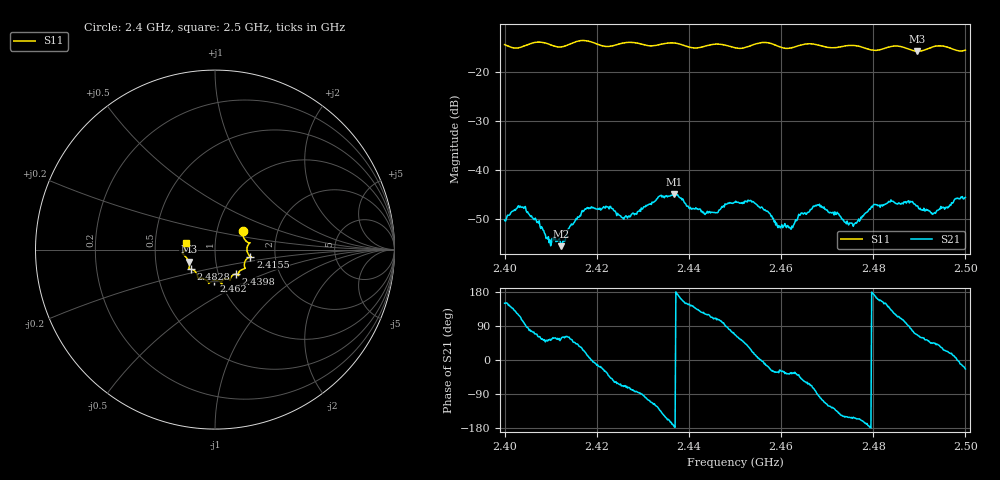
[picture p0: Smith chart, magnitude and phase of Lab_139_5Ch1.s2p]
# Hz S RI R 50
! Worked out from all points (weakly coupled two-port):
!   601 points, 2.4 GHz to 2.5 GHz, reference 50 ohm
!   highest |S21| = -45.03 dB at 2.4368 GHz (marker M1); lowest = -55.6 dB at 2.4123 GHz (marker M2)
!   lowest |S11| = -15.9 dB at 2.4895 GHz (marker M3), VSWR 1.38, Z = 37 - j5.05 ohm
!   |S11| at or under -10 dB: start of sweep to end of sweep
!   S12 and S22 are empty: the file has one direction only
!   S11 on the Smith chart (normalised r, x): 2.4 GHz: 1.33, +0.29; 2.4155 GHz: 1.49, -0.12; 2.4398 GHz: 1.21, -0.34; 2.462 GHz: 0.93, -0.33; 2.4828 GHz: 0.74, -0.17; 2.5 GHz: 0.72, +0.06
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2.4e9  0.1551 0.1059  -0.00266 0.00155  0 0  0 0
2.404e9  0.1736 0.0467  -0.000826 0.00408  0 0  0 0
2.4095e9  0.1879 0.0311  0.00124 0.00167  0 0  0 0
2.412333e9  0.178 -0.0047  0.00089 0.00141  0 0  0 0
2.4155e9  0.1974 -0.0392  0.00235 0.00215  0 0  0 0
2.416667e9  0.2023 -0.0425  0.00307 0.00199  0 0  0 0
2.4225e9  0.1656 -0.0701  0.00316 -0.00271  0 0  0 0
2.426167e9  0.1677 -0.1024  0.00127 -0.00307  0 0  0 0
2.433333e9  0.1298 -0.1341  -0.00314 -0.00425  0 0  0 0
2.436833e9  0.1317 -0.1441  -0.00559 -0.000371  0 0  0 0
2.439833e9  0.1151 -0.1361  -0.00354 0.00237  0 0  0 0
2.445833e9  0.0841 -0.1704  -0.00128 0.00342  0 0  0 0
2.45e9  0.0651 -0.162  0.00185 0.00429  0 0  0 0
2.453833e9  0.0357 -0.183  0.00447 0.00164  0 0  0 0
2.462e9  -0.00564 -0.173  0.0021 -0.00143  0 0  0 0
2.466667e9  -0.035 -0.1881  0.00147 -0.00371  0 0  0 0
2.475833e9  -0.0944 -0.158  -0.00247 -0.0013  0 0  0 0
2.482833e9  -0.136 -0.109  -0.00381 0.00245  0 0  0 0
2.483333e9  -0.1398 -0.1089  -0.00371 0.00298  0 0  0 0
2.4895e9  -0.1461 -0.0665  0.00169 0.00395  0 0  0 0
2.493e9  -0.1766 -0.027  0.00251 0.00252  0 0  0 0
2.5e9  -0.1601 0.0395  0.00479 -0.00212  0 0  0 0
